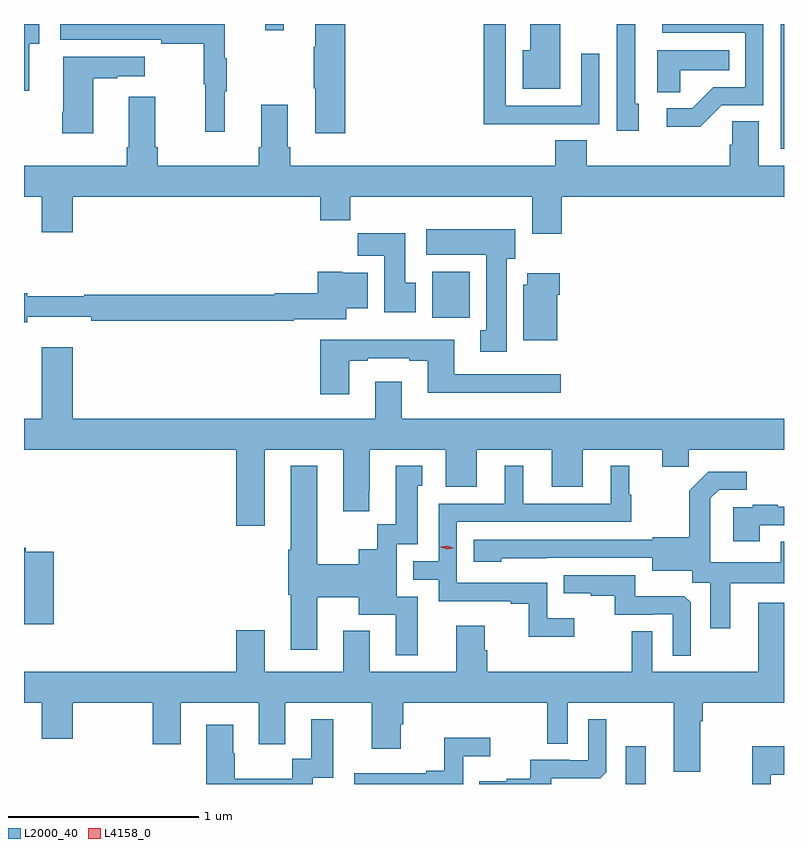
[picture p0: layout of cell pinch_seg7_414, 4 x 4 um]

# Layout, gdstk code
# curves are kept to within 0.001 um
import gdstk
lib = gdstk.Library(unit=1e-6, precision=1e-09)
def R(c, l, rs):  # rectangles x0, y0, x1, y1
    for r in rs: c.add(gdstk.rectangle(r[:2], r[2:], *l))
def P(c, l, *ps):  # polygons
    for p in ps: c.add(gdstk.Polygon(p, *l))
L2000_40 = (2000, 40)
L4158_0 = (4158, 0)

pinch_seg7_414 = lib.new_cell('pinch_seg7_414')
R(pinch_seg7_414, L2000_40, [(311.939,1072.117,312.043,1072.315), (310.919,1074.572,311.116,1074.814), (312.753,1075.461,312.771,1076.117), (310.041,1076.085,310.138,1076.117)])
P(pinch_seg7_414, L2000_40, [(310.463,1076.117),(310.304,1076.117),(310.304,1075.997),(310.297,1075.997),(310.297,1075.78),(310.304,1075.78),(310.304,1075.542),(310.463,1075.542)],
  [(308.798,1076.013),(308.851,1076.013),(308.851,1076.117),(308.771,1076.117),(308.771,1075.767),(308.798,1075.767)],
  [(311.483,1075.59),(311.799,1075.59),(311.799,1075.96),(311.703,1075.96),(311.703,1075.686),(311.307,1075.686),(311.307,1076.117),(311.191,1076.117),(311.191,1075.589),(311.483,1075.589)],
  [(312.444,1075.689),(312.663,1075.689),(312.663,1076.117),(312.129,1076.117),(312.129,1076.07),(312.567,1076.07),(312.567,1075.785),(312.398,1075.785),(312.287,1075.674),(312.153,1075.674),(312.153,1075.577),(312.331,1075.577)],
  [(309.827,1075.763),(309.838,1075.763),(309.838,1075.937),(309.827,1075.937),(309.827,1076.117),(308.961,1076.117),(308.961,1076.034),(309.493,1076.034),(309.493,1076.014),(309.717,1076.014),(309.717,1075.8),(309.724,1075.8),(309.724,1075.551),(309.827,1075.551)],
  [(311.593,1076.115),(311.582,1076.115),(311.582,1076.117),(311.435,1076.117),(311.435,1075.978),(311.396,1075.978),(311.396,1075.775),(311.593,1075.775)],
  [(312.007,1075.698),(311.988,1075.698),(311.988,1076.117),(311.89,1076.117),(311.89,1076.047),(311.892,1076.047),(311.892,1075.554),(312.007,1075.554)],
  [(312.225,1075.874),(312.482,1075.874),(312.482,1075.978),(312.104,1075.978),(312.104,1075.759),(312.225,1075.759)],
  [(309.136,1075.831),(309.263,1075.831),(309.263,1075.841),(309.406,1075.841),(309.406,1075.945),(308.978,1075.945),(308.978,1075.654),(308.971,1075.654),(308.971,1075.542),(309.136,1075.542)],
  [(311.6,1075.208),(312.771,1075.208),(312.771,1075.372),(312.637,1075.372),(312.637,1075.604),(312.498,1075.604),(312.498,1075.481),(312.485,1075.481),(312.485,1075.372),(311.732,1075.372),(311.732,1075.505),(311.567,1075.505),(311.567,1075.372),(310.172,1075.372),(310.172,1075.468),(310.159,1075.468),(310.159,1075.693),(310.019,1075.693),(310.019,1075.468),(310.007,1075.468),(310.007,1075.372),(309.476,1075.372),(309.476,1075.468),(309.463,1075.468),(309.463,1075.735),(309.323,1075.735),(309.323,1075.468),(309.311,1075.468),(309.311,1075.372),(308.771,1075.372),(308.771,1075.208),(308.864,1075.208),(308.864,1075.02),(309.028,1075.02),(309.028,1075.208),(310.331,1075.208),(310.331,1075.084),(310.487,1075.084),(310.487,1075.208),(311.447,1075.208),(311.447,1075.014),(311.6,1075.014)],
  [(311.311,1074.882),(311.356,1074.882),(311.356,1075.036),(310.887,1075.036),(310.887,1074.902),(311.204,1074.902),(311.204,1074.506),(311.171,1074.506),(311.171,1074.393),(311.311,1074.393)],
  [(310.834,1074.756),(310.777,1074.756),(310.777,1075.015),(310.528,1075.015),(310.528,1074.896),(310.667,1074.896),(310.667,1074.6),(310.834,1074.6)],
  [(308.788,1074.575),(309.124,1074.575),(309.124,1074.556),(310.192,1074.556),(310.192,1074.563),(310.468,1074.563),(310.468,1074.62),(310.579,1074.62),(310.579,1074.808),(310.446,1074.808),(310.446,1074.814),(310.316,1074.814),(310.316,1074.7),(310.092,1074.7),(310.092,1074.692),(309.088,1074.692),(309.088,1074.685),(308.788,1074.685),(308.788,1074.7),(308.771,1074.7),(308.771,1074.548),(308.788,1074.548)],
  [(311.578,1074.692),(311.591,1074.692),(311.591,1074.805),(311.42,1074.805),(311.42,1074.744),(311.399,1074.744),(311.399,1074.452),(311.578,1074.452)],
  [(310.483,1074.345),(310.579,1074.345),(310.579,1074.357),(310.799,1074.357),(310.799,1074.345),(310.895,1074.345),(310.895,1074.176),(311.596,1074.176),(311.596,1074.273),(311.035,1074.273),(311.035,1074.454),(310.331,1074.454),(310.331,1074.168),(310.483,1074.168)],
  [(310.039,1073.876),(310.451,1073.876),(310.451,1073.553),(310.588,1073.553),(310.588,1073.665),(310.591,1073.665),(310.591,1073.876),(310.991,1073.876),(310.991,1073.682),(311.155,1073.682),(311.155,1073.876),(311.549,1073.876),(311.549,1073.682),(311.713,1073.682),(311.713,1073.876),(312.131,1073.876),(312.131,1073.786),(312.269,1073.786),(312.269,1073.876),(312.771,1073.876),(312.771,1074.04),(310.759,1074.04),(310.759,1074.235),(310.619,1074.235),(310.619,1074.04),(309.028,1074.04),(309.028,1074.415),(308.864,1074.415),(308.864,1074.04),(308.771,1074.04),(308.771,1073.876),(309.887,1073.876),(309.887,1073.475),(310.039,1073.475)],
  [(310.843,1073.103),(310.734,1073.103),(310.734,1073.379),(310.843,1073.379),(310.843,1073.688),(310.867,1073.688),(310.867,1073.791),(310.727,1073.791),(310.727,1073.484),(310.631,1073.484),(310.631,1073.353),(310.532,1073.353),(310.532,1073.273),(310.315,1073.273),(310.315,1073.791),(310.175,1073.791),(310.175,1073.349),(310.163,1073.349),(310.163,1073.112),(310.175,1073.112),(310.175,1072.824),(310.315,1072.824),(310.315,1073.101),(310.532,1073.101),(310.532,1073.009),(310.727,1073.009),(310.727,1072.794),(310.843,1072.794)],
  [(311.668,1072.99),(311.526,1072.99),(311.526,1073.175),(311.049,1073.175),(311.049,1073.496),(311.968,1073.496),(311.968,1073.64),(311.956,1073.64),(311.956,1073.791),(311.858,1073.791),(311.858,1073.592),(311.398,1073.592),(311.398,1073.791),(311.3,1073.791),(311.3,1073.592),(310.953,1073.592),(310.953,1073.289),(310.82,1073.289),(310.82,1073.193),(310.953,1073.193),(310.953,1073.079),(311.333,1073.079),(311.333,1073.067),(311.428,1073.067),(311.428,1072.892),(311.668,1072.892)],
  [(312.487,1073.174),(312.771,1073.174),(312.771,1073.393),(312.755,1073.393),(312.755,1073.284),(312.384,1073.284),(312.384,1073.525),(312.382,1073.525),(312.382,1073.62),(312.429,1073.667),(312.574,1073.667),(312.574,1073.761),(312.373,1073.761),(312.273,1073.661),(312.273,1073.416),(312.081,1073.416),(312.081,1073.403),(311.139,1073.403),(311.139,1073.288),(311.283,1073.288),(311.283,1073.306),(312.077,1073.307),(312.077,1073.24),(312.288,1073.24),(312.288,1073.176),(312.383,1073.176),(312.383,1072.938),(312.487,1072.938)],
  [(312.643,1073.478),(312.771,1073.478),(312.771,1073.576),(312.739,1073.576),(312.739,1073.587),(312.607,1073.587),(312.607,1073.574),(312.503,1073.574),(312.503,1073.394),(312.643,1073.394)],
  [(308.927,1073.34),(308.78,1073.34),(308.78,1073.36),(308.771,1073.36),(308.771,1072.959),(308.927,1072.959)],
  [(312.279,1073.073),(312.247,1073.105),(311.989,1073.105),(311.989,1073.217),(311.611,1073.217),(311.611,1073.12),(311.755,1073.12),(311.755,1073.109),(311.879,1073.109),(311.879,1073.007),(312.086,1073.007),(312.086,1073.01),(312.186,1073.01),(312.186,1072.793),(312.279,1072.793)],
  [(308.771,1072.544),(308.864,1072.544),(308.864,1072.356),(309.028,1072.356),(309.028,1072.544),(309.448,1072.544),(309.448,1072.326),(309.595,1072.326),(309.595,1072.544),(310.007,1072.544),(310.007,1072.326),(310.147,1072.326),(310.147,1072.544),(310.601,1072.544),(310.601,1072.302),(310.753,1072.302),(310.753,1072.431),(310.766,1072.431),(310.766,1072.544),(311.526,1072.544),(311.526,1072.33),(311.634,1072.33),(311.634,1072.544),(312.191,1072.544),(312.191,1072.182),(312.331,1072.182),(312.331,1072.448),(312.344,1072.448),(312.344,1072.544),(312.771,1072.544),(312.771,1073.071),(312.635,1073.071),(312.635,1072.708),(312.078,1072.708),(312.078,1072.922),(311.97,1072.922),(311.97,1072.708),(311.21,1072.708),(311.21,1072.821),(311.197,1072.821),(311.197,1072.951),(311.045,1072.951),(311.045,1072.708),(310.591,1072.708),(310.591,1072.924),(310.451,1072.924),(310.451,1072.708),(310.039,1072.708),(310.039,1072.927),(309.887,1072.927),(309.887,1072.708),(308.771,1072.708)],
  [(311.545,1072.148),(311.803,1072.148),(311.835,1072.179),(311.835,1072.459),(311.742,1072.459),(311.742,1072.242),(311.642,1072.242),(311.642,1072.245),(311.435,1072.245),(311.435,1072.144),(311.311,1072.144),(311.311,1072.132),(311.167,1072.132),(311.167,1072.117),(311.545,1072.117)],
  [(310.29,1072.149),(310.399,1072.149),(310.399,1072.459),(310.283,1072.459),(310.283,1072.25),(310.182,1072.25),(310.182,1072.144),(309.879,1072.144),(309.879,1072.278),(309.871,1072.278),(309.871,1072.429),(309.731,1072.429),(309.731,1072.117),(310.29,1072.117)],
  [(311.082,1072.262),(311.224,1072.262),(311.224,1072.361),(310.984,1072.361),(310.984,1072.186),(310.889,1072.186),(310.889,1072.173),(310.509,1072.173),(310.509,1072.117),(311.082,1072.117)],
  [(312.702,1072.166),(312.771,1072.166),(312.771,1072.315),(312.605,1072.315),(312.605,1072.117),(312.702,1072.117)])
P(pinch_seg7_414, L4158_0, [(310.998,1073.352),(310.965,1073.364),(310.964,1073.364),(310.965,1073.365),(311,1073.372),(311.033,1073.359),(311.034,1073.359),(311.033,1073.359)])

lib.write_gds('pinch_seg7_414.gds')
